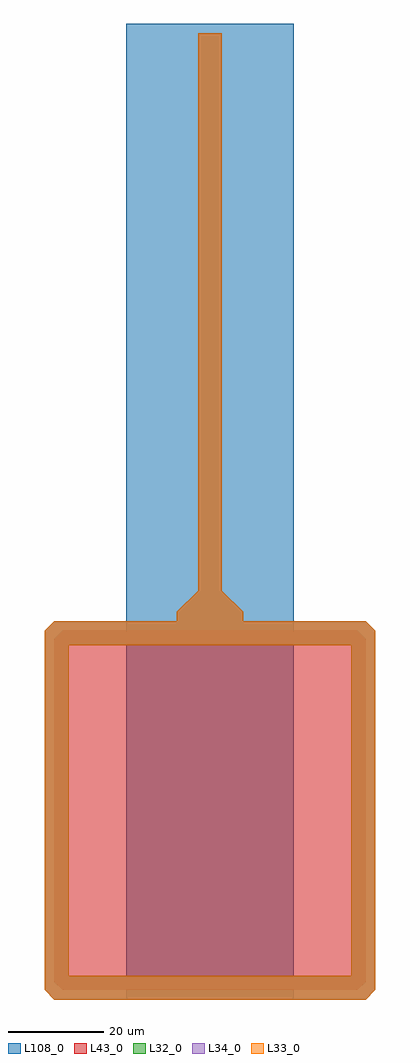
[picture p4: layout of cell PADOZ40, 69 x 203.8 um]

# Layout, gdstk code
import gdstk
lib = gdstk.Library(unit=1e-6, precision=1e-09)
def R(c, l, rs):  # rectangles x0, y0, x1, y1
    for r in rs: c.add(gdstk.rectangle(r[:2], r[2:], *l))
def P(c, l, *ps):  # polygons
    for p in ps: c.add(gdstk.Polygon(p, *l))
L32_0 = (32, 0)
L33_0 = (33, 0)
L34_0 = (34, 0)
L43_0 = (43, 0)
L108_0 = (108, 0)

padoz40 = lib.new_cell('PADOZ40')
P(padoz40, L32_0, [(69,77),(67,79),(2,79),(0,77),(0,74),(69,74)],
  [(69,77),(64,77),(64,0),(67,0),(69,2)],
  [(5,77),(0,77),(0,2),(2,0),(5,0)],
  [(66.93,5),(0,5),(0,2),(2,0),(66.93,0)],
  [(41.4,80.98),(37,85.38),(37,201.8),(32,201.8),(32,85.38),(27.6,80.98),(27.6,78.5),(41.4,78.5)])
P(padoz40, L33_0, [(69,77),(67,79),(2,79),(0,77),(0,74),(69,74)],
  [(69,77),(64,77),(64,0),(67,0),(69,2)],
  [(5,77),(0,77),(0,2),(2,0),(5,0)],
  [(41.4,78.5),(27.6,78.5),(27.6,80.98),(32,85.38),(32,201.8),(37,201.8),(37,85.38),(41.4,80.98)])
P(padoz40, L34_0, [(69,77),(67,79),(2,79),(0,77),(0,74),(69,74)],
  [(69,77),(64,77),(64,0),(67,0),(69,2)],
  [(5,77),(0,77),(0,2),(2,0),(5,0)],
  [(66.93,5),(0,5),(0,2),(2,0),(66.93,0)],
  [(41.4,78.5),(27.6,78.5),(27.6,80.98),(32,85.38),(32,201.8),(37,201.8),(37,85.38),(41.4,80.98)])
P(padoz40, L43_0, [(67,75.25),(65.25,77),(3.75,77),(2,75.25),(2,3.75),(3.75,2),(65.25,2),(67,3.75)])
R(padoz40, L108_0, [(17,0,52,203.8)])
padoz40.add(gdstk.FlexPath([(2.5,2.5),(66.93,2.5)], 5, ends="flush", simple_path=True, layer=33, datatype=0))  # L33_0

lib.write_gds('PADOZ40.gds')
